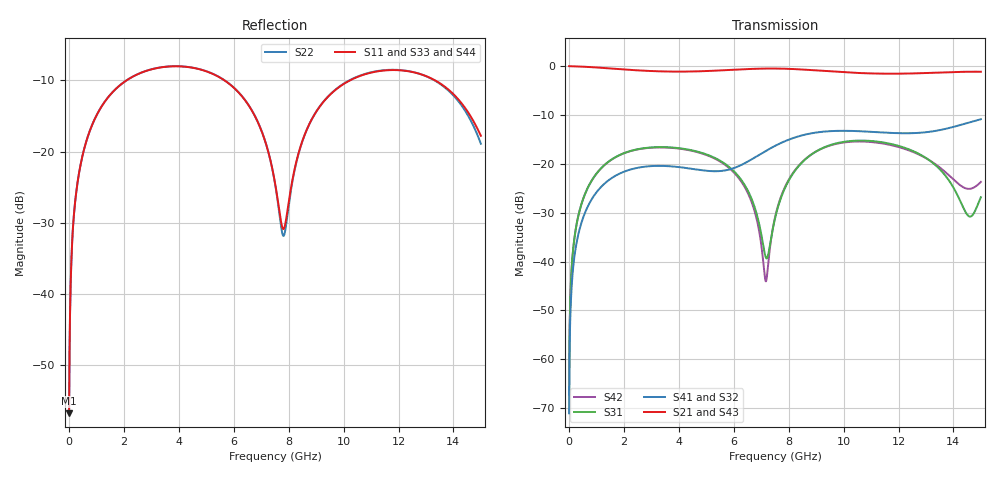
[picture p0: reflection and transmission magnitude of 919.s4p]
! Created with skrf 1.8.0 (http://scikit-rf.org).
# GHz S RI R 50.0
!freq ReS11 ImS11 ReS12 ImS12 ReS13 ImS13
! ReS14 ImS14
! ReS21 ImS21 ReS22 ImS22 ReS23 ImS23
! ReS24 ImS24
! ReS31 ImS31 ReS32 ImS32 ReS33 ImS33
! ReS34 ImS34
! ReS41 ImS41 ReS42 ImS42 ReS43 ImS43
! ReS44 ImS44
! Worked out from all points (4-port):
!   2499 points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, 5 MHz to 15 GHz, reference 50 ohm
!   strongest paths, dB at 5 MHz, 3.476 GHz, 7.19 GHz, 11.1 GHz, 15 GHz:
!     S21: 0.0, -1.1, -0.5, -1.5, -1.2
!     S43: 0.0, -1.1, -0.5, -1.5, -1.2
!     S41: -71.1, -20.4, -17.3, -13.5, -10.9
!     S32: -71.1, -20.4, -17.3, -13.5, -10.9
!     S31: -67.2, -16.6, -39.4, -15.4, -26.8
!     S42: -67.2, -16.7, -43.7, -15.6, -23.7
!   lowest |S11| = -56.8 dB at 5 MHz (marker M1), VSWR 1.00, Z = 50.1 + j0.0884 ohm
!   |S11| at or under -10 dB: start of sweep to 2.095 GHz; 5.663 GHz to 10.23 GHz (4.568 GHz wide, 57.5 % of centre); 13.33 GHz to end of sweep
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0.005  0.00115 0.000882  0.9988 -0.00225  5.59e-05 0.000433  -5.45e-05 -0.000274
       0.9988 -0.00225  0.00115 0.000882  -5.45e-05 -0.000274  5.59e-05 0.000433
       5.59e-05 0.000433  -5.45e-05 -0.000274  0.00115 0.000882  0.9988 -0.00225
       -5.45e-05 -0.000274  5.59e-05 0.000433  0.9988 -0.00225  0.00115 0.000882
0.4126719  0.0202 0.0765  0.9722 -0.1846  0.00906 0.0342  -0.00752 -0.0215
           0.9722 -0.1846  0.0202 0.0765  -0.00752 -0.0215  0.00894 0.0342
           0.00906 0.0342  -0.00752 -0.0215  0.0202 0.0765  0.9722 -0.1846
           -0.00752 -0.0215  0.00894 0.0342  0.9722 -0.1846  0.0202 0.0765
2.025844  0.2443 0.1903  0.6042 -0.6984  0.113 0.0631  -0.0822 -0.0147
          0.6042 -0.6984  0.245 0.1899  -0.0822 -0.0147  0.1113 0.0651
          0.113 0.0631  -0.0822 -0.0147  0.2443 0.1903  0.6041 -0.6984
          -0.0822 -0.0147  0.1113 0.0651  0.6041 -0.6984  0.245 0.1899
7.165486  0.0542 -0.1011  -0.8928 -0.3072  -0.0105 -0.00343  -0.0397 0.1295
          -0.8928 -0.3072  0.0511 -0.103  -0.0404 0.1292  -0.00619 -0.00106
          -0.0105 -0.00343  -0.0404 0.1292  0.0539 -0.1011  -0.8929 -0.307
          -0.0397 0.1295  -0.00619 -0.00106  -0.8929 -0.307  0.0513 -0.1028
7.909546  0.03 0.0152  -0.9396 -0.00839  0.00877 0.0595  0.00469 0.1725
          -0.9396 -0.00839  0.0271 0.0147  0.00378 0.1725  0.0107 0.0605
          0.00877 0.0595  0.00378 0.1725  0.0298 0.0157  -0.9395 -0.00793
          0.00469 0.1725  0.0107 0.0605  -0.9395 -0.00793  0.0273 0.0151
10.47311  0.3037 0.1352  -0.4545 0.7211  0.1726 0.0066  0.2086 0.0574
          -0.4545 0.7211  0.3067 0.1332  0.2078 0.0585  0.1688 0.0121
          0.1726 0.0066  0.2078 0.0585  0.3064 0.1354  -0.4533 0.7208
          0.2086 0.0574  0.1688 0.0121  -0.4533 0.7208  0.3082 0.1346
15  0.0938 -0.0887  0.8074 0.3388  -0.0234 0.0391  0.1076 -0.2653
    0.8074 0.3388  0.0765 -0.0838  0.1114 -0.264  -0.0573 0.0313
    -0.0234 0.0391  0.1114 -0.264  0.0911 -0.098  0.8058 0.3401
    0.1076 -0.2653  -0.0573 0.0313  0.8058 0.3401  0.0858 -0.0888
